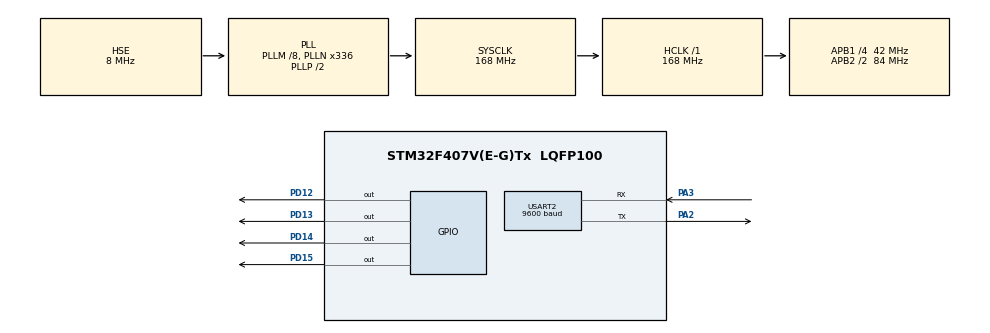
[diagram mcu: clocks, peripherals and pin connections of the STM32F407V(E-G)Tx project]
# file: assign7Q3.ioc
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Mcu.Family=STM32F4
Mcu.Name=STM32F407V(E-G)Tx
Mcu.Package=LQFP100
NVIC.PriorityGroup=NVIC_PRIORITYGROUP_0
PA2.Mode=Asynchronous
PA2.Signal=USART2_TX
PA3.Mode=Asynchronous
PA3.Signal=USART2_RX
PD12.Signal=GPIO_Output
PD13.Signal=GPIO_Output
PD14.Signal=GPIO_Output
PD15.Signal=GPIO_Output
ProjectManager.HeapSize=0x200
ProjectManager.StackSize=0x400
ProjectManager.TargetToolchain=STM32CubeIDE
RCC.48MHZClocksFreq_Value=48000000
RCC.AHBFreq_Value=168000000
RCC.APB1CLKDivider=RCC_HCLK_DIV4
RCC.APB1Freq_Value=42000000
RCC.APB1TimFreq_Value=84000000
RCC.APB2CLKDivider=RCC_HCLK_DIV2
RCC.APB2Freq_Value=84000000
RCC.APB2TimFreq_Value=168000000
RCC.CortexFreq_Value=168000000
RCC.HCLKFreq_Value=168000000
RCC.HSE_VALUE=8000000
RCC.HSI_VALUE=16000000
RCC.PLLM=8
RCC.PLLN=336
RCC.PLLQ=7
RCC.PLLSourceVirtual=RCC_PLLSOURCE_HSE
RCC.SYSCLKFreq_VALUE=168000000
RCC.SYSCLKSource=RCC_SYSCLKSOURCE_PLLCLK
RCC.VCOOutputFreq_Value=336000000
USART2.BaudRate=9600
USART2.VirtualMode=VM_ASYNC
board=STM32F407G-DISC1

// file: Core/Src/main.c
/* USER CODE BEGIN Header */
/**
  ******************************************************************************
  * @file           : main.c
  * @brief          : Main program body
  ******************************************************************************
  * @attention
  *
  * Copyright (c) 2025 STMicroelectronics.
  * All rights reserved.
  *
  * This software is licensed under terms that can be found in the LICENSE file
  * in the root directory of this software component.
  * If no LICENSE file comes with this software, it is provided AS-IS.
  *
  ******************************************************************************
  */
/* USER CODE END Header */
#include "main.h"
#include<string.h>
#include<stdio.h>
#define MAX_LEN 100
uint8_t rx_byte;
char rx_buffer[MAX_LEN];
uint16_t rx_index = 0;

UART_HandleTypeDef huart2;

void SystemClock_Config(void);
static void MX_GPIO_Init(void);
static void MX_USART2_UART_Init(void);

int main(void)
{

  /* MCU Configuration--------------------------------------------------------*/

  /* Reset of all peripherals, Initializes the Flash interface and the Systick. */
  HAL_Init();

  /* Configure the system clock */
  SystemClock_Config();

  /* Initialize all configured peripherals */
  MX_GPIO_Init();
  MX_USART2_UART_Init();
  /* USER CODE BEGIN 2 */
  char msg[50] = "Enter Data ...\r\n";
      HAL_UART_Transmit(&huart2, ( uint8_t *)msg,strlen(msg),HAL_MAX_DELAY);
  /* USER CODE END 2 */

  /* Infinite loop */
  while (1)
  {

    /* USER CODE BEGIN 3 */

	        HAL_UART_Receive(&huart2, &rx_byte, 1, HAL_MAX_DELAY);

	        HAL_UART_Transmit(&huart2, &rx_byte, 1, HAL_MAX_DELAY);

	        if (rx_byte == '\r')
	        {
	            rx_buffer[rx_index] = '\0';
	            char msg1[] = "\r\nYou Sent:";
	            HAL_UART_Transmit(&huart2, (uint8_t*)msg1, strlen(msg1), HAL_MAX_DELAY);
	            HAL_UART_Transmit(&huart2, (uint8_t*)rx_buffer, strlen(rx_buffer), HAL_MAX_DELAY);

	            strupr(rx_buffer);

	            char msg2[] = "\r\nUppercase: ";
	            HAL_UART_Transmit(&huart2, (uint8_t*)msg2, strlen(msg2), HAL_MAX_DELAY);
	            HAL_UART_Transmit(&huart2, (uint8_t*)rx_buffer, strlen(rx_buffer), HAL_MAX_DELAY);

	            uint8_t len = strlen(rx_buffer);
	            sprintf(rx_buffer, "\r\nlength = %d\r\n", len);
	            HAL_UART_Transmit(&huart2, (uint8_t *)rx_buffer, strlen(rx_buffer), HAL_MAX_DELAY);

	            char msg3[] = "\r\n";
	            HAL_UART_Transmit(&huart2, (uint8_t*)msg3, strlen(msg3), HAL_MAX_DELAY);

	            rx_index = 0;
	        }
	        else
	        {

	            if (rx_index < MAX_LEN - 1)
	            {
	                rx_buffer[rx_index++] = rx_byte;
	            }
	        }
	    }

  /* USER CODE END 3 */
}

void SystemClock_Config(void)
{
  RCC_OscInitTypeDef RCC_OscInitStruct = {0};
  RCC_ClkInitTypeDef RCC_ClkInitStruct = {0};

  /** Configure the main internal regulator output voltage
  */
  __HAL_RCC_PWR_CLK_ENABLE();
  __HAL_PWR_VOLTAGESCALING_CONFIG(PWR_REGULATOR_VOLTAGE_SCALE1);

  /** Initializes the RCC Oscillators according to the specified parameters
  * in the RCC_OscInitTypeDef structure.
  */
  RCC_OscInitStruct.OscillatorType = RCC_OSCILLATORTYPE_HSE;
  RCC_OscInitStruct.HSEState = RCC_HSE_OFF;
  RCC_OscInitStruct.PLL.PLLState = RCC_PLL_ON;
  RCC_OscInitStruct.PLL.PLLSource = RCC_PLLSOURCE_HSE;
  RCC_OscInitStruct.PLL.PLLM = 8;
  RCC_OscInitStruct.PLL.PLLN = 336;
  RCC_OscInitStruct.PLL.PLLP = RCC_PLLP_DIV2;
  RCC_OscInitStruct.PLL.PLLQ = 7;
  if (HAL_RCC_OscConfig(&RCC_OscInitStruct) != HAL_OK)
  {
    Error_Handler();
  }

  /** Initializes the CPU, AHB and APB buses clocks
  */
  RCC_ClkInitStruct.ClockType = RCC_CLOCKTYPE_HCLK|RCC_CLOCKTYPE_SYSCLK
                              |RCC_CLOCKTYPE_PCLK1|RCC_CLOCKTYPE_PCLK2;
  RCC_ClkInitStruct.SYSCLKSource = RCC_SYSCLKSOURCE_PLLCLK;
  RCC_ClkInitStruct.AHBCLKDivider = RCC_SYSCLK_DIV1;
  RCC_ClkInitStruct.APB1CLKDivider = RCC_HCLK_DIV4;
  RCC_ClkInitStruct.APB2CLKDivider = RCC_HCLK_DIV2;

  if (HAL_RCC_ClockConfig(&RCC_ClkInitStruct, FLASH_LATENCY_5) != HAL_OK)
  {
    Error_Handler();
  }
}

static void MX_USART2_UART_Init(void)
{

  huart2.Instance = USART2;
  huart2.Init.BaudRate = 9600;
  huart2.Init.WordLength = UART_WORDLENGTH_8B;
  huart2.Init.StopBits = UART_STOPBITS_1;
  huart2.Init.Parity = UART_PARITY_NONE;
  huart2.Init.Mode = UART_MODE_TX_RX;
  huart2.Init.HwFlowCtl = UART_HWCONTROL_NONE;
  huart2.Init.OverSampling = UART_OVERSAMPLING_16;
  if (HAL_UART_Init(&huart2) != HAL_OK)
  {
    Error_Handler();
  }

}

static void MX_GPIO_Init(void)
{
  GPIO_InitTypeDef GPIO_InitStruct = {0};

  /* GPIO Ports Clock Enable */
  __HAL_RCC_GPIOA_CLK_ENABLE();
  __HAL_RCC_GPIOD_CLK_ENABLE();

  /*Configure GPIO pin Output Level */
  HAL_GPIO_WritePin(GPIOD, GPIO_PIN_12|GPIO_PIN_13|GPIO_PIN_14|GPIO_PIN_15, GPIO_PIN_RESET);

  /*Configure GPIO pins : PD12 PD13 PD14 PD15 */
  GPIO_InitStruct.Pin = GPIO_PIN_12|GPIO_PIN_13|GPIO_PIN_14|GPIO_PIN_15;
  GPIO_InitStruct.Mode = GPIO_MODE_OUTPUT_PP;
  GPIO_InitStruct.Pull = GPIO_NOPULL;
  GPIO_InitStruct.Speed = GPIO_SPEED_FREQ_LOW;
  HAL_GPIO_Init(GPIOD, &GPIO_InitStruct);

}

void Error_Handler(void)
{
  __disable_irq();
  while (1)
  {
  }
}
